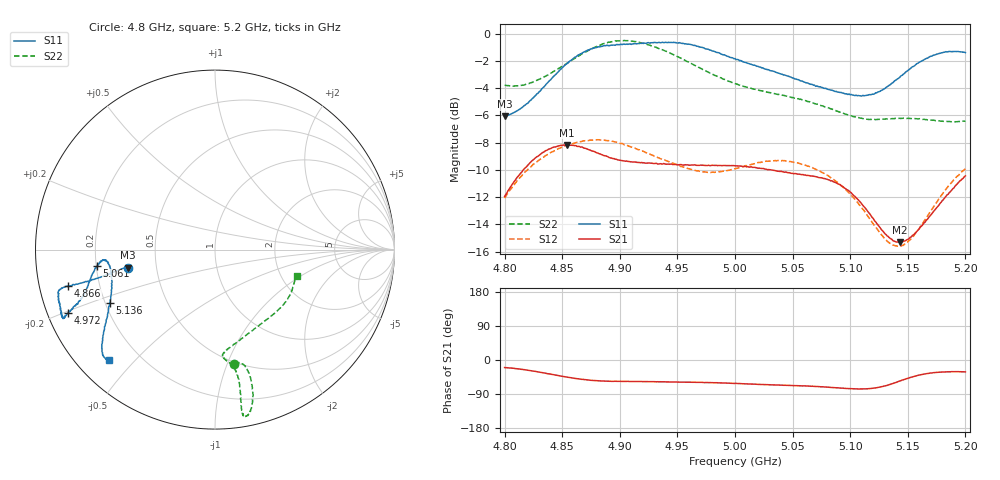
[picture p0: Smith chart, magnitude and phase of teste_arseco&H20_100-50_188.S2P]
! Network Analyzer HP8722D
! Hewlett-Packard
! Data name: Linha & Wilkinson
! Saver's name: Rodrigo Anjos
! Comments: Teste da utilização de aquisição
! continua pelo VNA HP8722D
! Time and date: 6/5/2025 14:08
!  Frequency  S11  S21  S12  S22
# HZ  S  MA R 50
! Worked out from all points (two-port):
!   401 points, 4.8 GHz to 5.2 GHz, reference 50 ohm
!   highest |S21| = -8.16 dB at 4.854 GHz (marker M1); lowest = -15.3 dB at 5.143 GHz (marker M2)
!   |S21| within 3 dB of the highest: 4.806 GHz to 5.092 GHz (286.4 MHz wide, 5.79 % of centre); 5.191383 GHz to end of sweep
!   lowest |S11| = -6.1 dB at 4.8 GHz (marker M3), VSWR 2.98, Z = 17 - j4.53 ohm
!   |S11| at or under -10 dB: nowhere
!   |S22| runs from -6.5 to -0.5 dB; largest |S21 - S12| = 0.62
!   S11 on the Smith chart (normalised r, x): 4.8 GHz: 0.34, -0.09; 4.866 GHz: 0.09, -0.12; 4.972 GHz: 0.06, -0.21; 5.061 GHz: 0.20, -0.07; 5.136 GHz: 0.22, -0.23; 5.2 GHz: 0.09, -0.42
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4.8e9  0.4969 -168.3  0.2525 -19.9  0.2493 -140.9  0.6478 -80.4
4.826e9  0.5889 -167.4  0.3478 -29.8  0.3336 -144.8  0.6685 -75.6
4.854e9  0.7772 -166.0  0.3908 -45.0  0.389 -150.0  0.7785 -74.8
4.866e9  0.844 -166.0  0.3832 -50.5  0.4018 -152.0  0.8383 -75.3
4.867e9  0.848 -165.9  0.3843 -51.1  0.4025 -152.1  0.8435 -75.5
4.88e9  0.8905 -165.7  0.3655 -54.6  0.4081 -154.4  0.8988 -76.9
4.9e9  0.9126 -162.7  0.3434 -56.4  0.396 -156.7  0.9427 -79.3
4.934e9  0.931 -156.7  0.3325 -57.6  0.3502 -155.7  0.8822 -80.5
4.972e9  0.8905 -156.7  0.329 -59.1  0.3111 -146.3  0.7392 -79.8
5e9  0.8109 -159.1  0.3274 -61.9  0.3195 -137.4  0.6562 -81.4
5.036e9  0.7213 -165.8  0.3134 -66.1  0.3415 -134.5  0.6008 -85.7
5.061e9  0.6628 -172.0  0.3031 -68.5  0.3295 -136.4  0.5685 -84.0
5.067e9  0.6522 -173.1  0.3004 -69.2  0.323 -136.9  0.5575 -82.7
5.082e9  0.6234 -174.8  0.2903 -72.0  0.2987 -138.4  0.5329 -77.2
5.102e9  0.5956 -171.7  0.2573 -76.1  0.2528 -138.8  0.4975 -65.8
5.116e9  0.5964 -165.4  0.2206 -76.1  0.2118 -135.5  0.4845 -55.7
5.134e9  0.6472 -154.3  0.1781 -65.0  0.1705 -120.6  0.4869 -43.3
5.136e9  0.6574 -153.2  0.176 -63.2  0.1682 -118.2  0.4877 -41.9
5.143e9  0.6923 -149.4  0.1713 -55.7  0.1661 -108.9  0.4894 -38.0
5.154e9  0.7568 -144.4  0.1817 -44.3  0.1792 -94.9  0.4881 -32.2
5.172e9  0.8335 -139.1  0.2216 -33.6  0.2303 -81.3  0.4814 -24.5
5.2e9  0.853 -133.8  0.3007 -31.5  0.3191 -77.1  0.4783 -17.6
